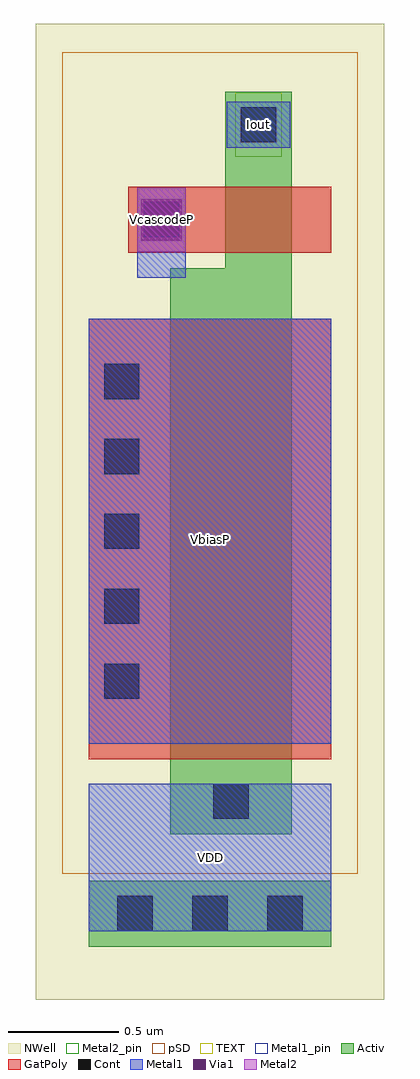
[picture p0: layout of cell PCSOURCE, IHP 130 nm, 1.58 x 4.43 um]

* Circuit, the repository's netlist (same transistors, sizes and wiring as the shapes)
** sch_path: /home/cmaier/EDA/PUDDING/xschem/pcsource.sch
.subckt pcsource VDD VbiasP VcascodeP Iout
*.PININFO VcascodeP:I VbiasP:I Iout:O VDD:I
Msrc drain VbiasP VDD VDD sg13_lv_pmos w=0.55u l=2u ng=1 m=1
Mcasc Iout VcascodeP drain VDD sg13_lv_pmos w=0.3u l=0.3u ng=1 m=1
.ends

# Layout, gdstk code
from math import pi, radians
import gdstk
lib = gdstk.Library(unit=1e-6, precision=1e-09)
def R(c, l, rs):  # rectangles x0, y0, x1, y1
    for r in rs: c.add(gdstk.rectangle(r[:2], r[2:], *l))
def A(c, l, x, y, w, h, nx, ny, dx, dy):  # array of equal rectangles
    R(c, l, [(x+i*dx, y+j*dy, x+i*dx+w, y+j*dy+h) for i in range(nx) for j in range(ny)])
Activ = (1, 0)
GatPoly = (5, 0)
Cont = (6, 0)
Metal1 = (8, 0)
Metal1_pin = (8, 2)
Metal2 = (10, 0)
Metal2_pin = (10, 2)
pSD = (14, 0)
Via1 = (19, 0)
NWell = (31, 0)
TEXT = (63, 0)

switched_pmos_cascode = lib.new_cell('switched_pmos_cascode')
R(switched_pmos_cascode, Activ, [(0.29,-0.38,0.59,0.58)])
R(switched_pmos_cascode, GatPoly, [(-0.15,-0.15,0.77,0.15)])
R(switched_pmos_cascode, Cont, [(0.36,0.35,0.52,0.51)])
R(switched_pmos_cascode, Metal1, [(-0.11,-0.265,0.11,0.145), (0.295,0.325,0.585,0.535)])
R(switched_pmos_cascode, Metal2, [(-0.11,-0.145,0.11,0.145)])
R(switched_pmos_cascode, pSD, [(-0.01,-0.56,0.89,0.76)])
R(switched_pmos_cascode, Via1, [(-0.095,-0.095,0.095,0.095)])
R(switched_pmos_cascode, NWell, [(-0.03,-0.79,0.91,0.89)])
R(switched_pmos_cascode, TEXT, [(0.335,0.285,0.545,0.575), (0.345,0.335,0.535,0.525)])

feol_contacts_1 = lib.new_cell('FEOL$contacts$1')
A(feol_contacts_1, Cont, 0.09, 0, 0.16, 0.16, 3, 1, 0.34, 0)
R(feol_contacts_1, Metal1, [(0,0,1.02,0.16)])

feol_contacts_2 = lib.new_cell('FEOL$contacts$2')
R(feol_contacts_2, Cont, [(0.155,0,0.315,0.16)])
R(feol_contacts_2, Metal1, [(0,0,0.47,0.16)])

feol_contacts_3 = lib.new_cell('FEOL$contacts$3')
A(feol_contacts_3, Cont, 0.165, 0, 0.16, 0.16, 5, 1, 0.34, 0)
R(feol_contacts_3, Metal1, [(0,0,1.85,0.16)])

pcsource = lib.new_cell('PCSOURCE')
R(pcsource, Activ, [(-0.33,-3.3,0.77,-3), (0.04,-2.79,0.59,-0.22)])
R(pcsource, GatPoly, [(-0.33,-2.45,0.77,-0.45)])
R(pcsource, Cont, [(-0.08,-0.08,0.08,0.08)])
R(pcsource, Metal1, [(-0.33,-3.23,0.77,-2.56), (-0.33,-2.38,0.77,-0.45)])
R(pcsource, Metal1_pin, [(-0.33,-3.23,0.77,-2.56), (-0.33,-2.38,0.77,-0.45), (0.295,0.325,0.585,0.535)])
R(pcsource, Metal2_pin, [(-0.105,-0.145,0.105,0.145)])
R(pcsource, pSD, [(-0.45,-2.97,0.89,0.76)])
R(pcsource, NWell, [(-0.57,-3.54,1.01,0.89)])
pcsource.add(gdstk.Reference(switched_pmos_cascode, (0,0)))
pcsource.add(gdstk.Reference(feol_contacts_1, (-0.29,-3.23)))
pcsource.add(gdstk.Reference(feol_contacts_2, (0.08,-2.72)))
pcsource.add(gdstk.Reference(feol_contacts_3, (-0.1,-2.34), rotation=pi/2))
pcsource.add(gdstk.Label('VDD', (0.22,-2.895), layer=8, texttype=2))
pcsource.add(gdstk.Label('Iout', (0.44,0.43), layer=8, texttype=2))
pcsource.add(gdstk.Label('VbiasP', (0.22,-1.45), layer=8, texttype=2))
pcsource.add(gdstk.Label('VcascodeP', (0,0), layer=10, texttype=2))

lib.write_gds('PCSOURCE.gds')
